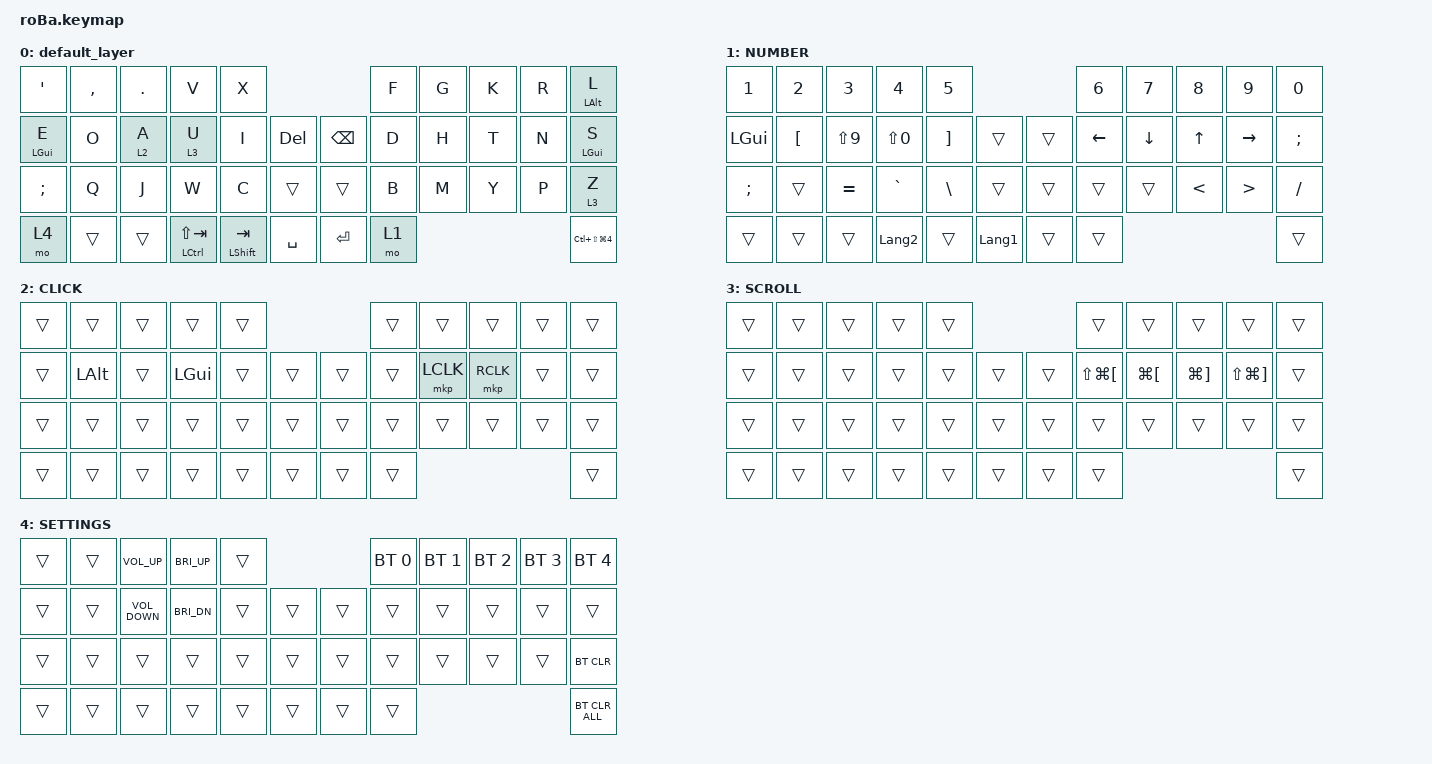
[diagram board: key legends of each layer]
#include <behaviors.dtsi>
#include <dt-bindings/zmk/bt.h>
#include <dt-bindings/zmk/keys.h>
#include <dt-bindings/zmk/pointing.h>

#define MOUSE 2
#define SCROLL 3
#define NUM 1

&mt {
    flavor = "balanced";
    quick-tap-ms = <0>;
};

/ {
    combos {
        compatible = "zmk,combos";

        esc {
            bindings = <&kp ESC>;
            key-positions = <1 2>;
        };

        backspace {
            bindings = <&kp BACKSPACE>;
            key-positions = <18 19>;
        };

        hi {
            bindings = <&kp MINUS>;
            key-positions = <7 8>;
        };
    };

    macros {
        to_layer_0: to_layer_0 {
            compatible = "zmk,behavior-macro-one-param";
            #binding-cells = <1>;
            bindings = <&to 0 &macro_param_1to1 &kp MACRO_PLACEHOLDER>;
            label = "TO_LAYER_0";
        };
    };

    behaviors {
        lt_to_layer_0: lt_to_layer_0 {
            compatible = "zmk,behavior-hold-tap";
            label = "LAYER_TAP_TO_0";
            bindings = <&mo>, <&to_layer_0>;

            #binding-cells = <2>;
            tapping-term-ms = <200>;
        };
    };

    keymap {
        compatible = "zmk,keymap";

        default_layer {
            bindings = <
&kp SQT         &kp COMMA  &kp PERIOD  &kp V              &kp X                                              &kp F  &kp G  &kp K  &kp R  &mt LEFT_ALT L
&mt LEFT_GUI E  &kp O      &lt 2 A     &lt 3 U            &kp I               &kp DELETE      &kp BACKSPACE  &kp D  &kp H  &kp T  &kp N  &mt LEFT_GUI S
&kp SEMICOLON   &kp Q      &kp J       &kp W              &kp C               &trans          &trans         &kp B  &kp M  &kp Y  &kp P  &lt 3 Z
&mo 4           &trans     &trans      &mt LCTRL LS(TAB)  &mt LEFT_SHIFT TAB  &kp SPACE       &kp ENTER      &mo 1                       &kp LC(LS(LG(NUMBER_4)))
            >;
        };

        NUMBER {
            bindings = <
&kp N1    &kp N2    &kp N3      &kp N4          &kp N5                                     &kp N6    &kp N7    &kp N8         &kp N9            &kp N0
&kp LGUI  &kp LBKT  &kp LS(N9)  &kp LS(N0)      &kp RBKT       &trans              &trans  &kp LEFT  &kp DOWN  &kp UP         &kp RIGHT         &kp SEMI
&kp SEMI  &trans    &kp EQUAL   &kp GRAVE       &kp BACKSLASH  &trans              &trans  &trans    &trans    &kp LESS_THAN  &kp GREATER_THAN  &kp FSLH
&trans    &trans    &trans      &kp LANGUAGE_2  &trans         &kp LANGUAGE_1      &trans  &trans                                               &trans
            >;
        };

        CLICK {
            bindings = <
&trans  &trans        &trans  &trans        &trans                      &trans  &trans     &trans     &trans  &trans
&trans  &kp LEFT_ALT  &trans  &kp LEFT_GUI  &trans  &trans      &trans  &trans  &mkp LCLK  &mkp RCLK  &trans  &trans
&trans  &trans        &trans  &trans        &trans  &trans      &trans  &trans  &trans     &trans     &trans  &trans
&trans  &trans        &trans  &trans        &trans  &trans      &trans  &trans                                &trans
            >;
        };

        SCROLL {
            bindings = <
&trans  &trans  &trans  &trans  &trans                      &trans                    &trans                &trans                 &trans                     &trans
&trans  &trans  &trans  &trans  &trans  &trans      &trans  &kp LS(LG(LEFT_BRACKET))  &kp LG(LEFT_BRACKET)  &kp LG(RIGHT_BRACKET)  &kp LS(LG(RIGHT_BRACKET))  &trans
&trans  &trans  &trans  &trans  &trans  &trans      &trans  &trans                    &trans                &trans                 &trans                     &trans
&trans  &trans  &trans  &trans  &trans  &trans      &trans  &trans                                                                                            &trans
            >;
        };

        SETTINGS {
            bindings = <
&trans  &trans  &kp C_VOLUME_UP    &kp C_BRI_UP  &trans                      &bt BT_SEL 0  &bt BT_SEL 1  &bt BT_SEL 2  &bt BT_SEL 3  &bt BT_SEL 4
&trans  &trans  &kp C_VOLUME_DOWN  &kp C_BRI_DN  &trans  &trans      &trans  &trans        &trans        &trans        &trans        &trans
&trans  &trans  &trans             &trans        &trans  &trans      &trans  &trans        &trans        &trans        &trans        &bt BT_CLR
&trans  &trans  &trans             &trans        &trans  &trans      &trans  &trans                                                  &bt BT_CLR_ALL
            >;
        };
    };
};
